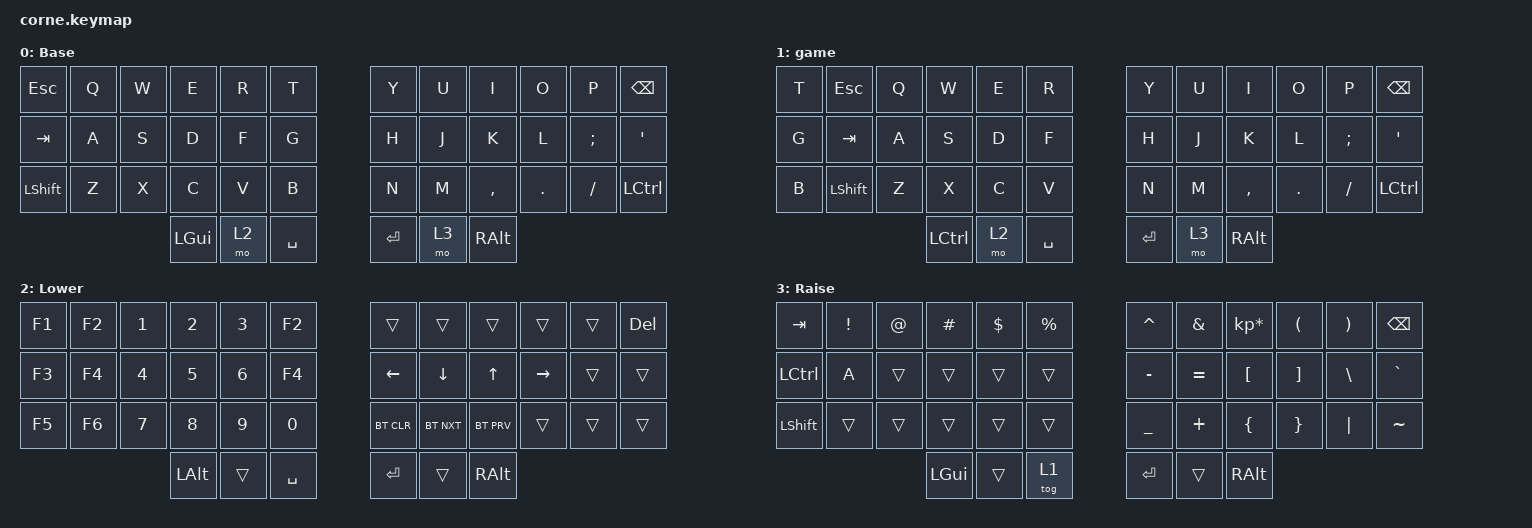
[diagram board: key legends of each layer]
/*
 * Copyright (c) 2020 The ZMK Contributors
 *
 * SPDX-License-Identifier: MIT
 */

#include <behaviors.dtsi>
#include <dt-bindings/zmk/bt.h>
#include <dt-bindings/zmk/keys.h>

/ {
    keymap {
        compatible = "zmk,keymap";

        default_layer {
            // -----------------------------------------------------------------------------------------
            // |  TAB |  Q  |  W  |  E  |  R  |  T  |   |  Y  |  U   |  I  |  O  |  P  | BKSP |
            // | CTRL |  A  |  S  |  D  |  F  |  G  |   |  H  |  J   |  K  |  L  |  ;  |  '   |
            // | SHFT |  Z  |  X  |  C  |  V  |  B  |   |  N  |  M   |  ,  |  .  |  /  | ESC  |
            //                    | GUI | LWR | SPC |   | ENT | RSE  | ALT |

            label = "Base";
            bindings = <
&kp ESCAPE  &kp Q  &kp W  &kp E     &kp R  &kp T        &kp Y    &kp U  &kp I      &kp O    &kp P     &kp BSPC
&kp TAB     &kp A  &kp S  &kp D     &kp F  &kp G        &kp H    &kp J  &kp K      &kp L    &kp SEMI  &kp SQT
&kp LSHFT   &kp Z  &kp X  &kp C     &kp V  &kp B        &kp N    &kp M  &kp COMMA  &kp DOT  &kp FSLH  &kp LCTRL
                          &kp LGUI  &mo 2  &kp SPACE    &kp RET  &mo 3  &kp RALT
            >;
        };

        game {
            label = "game";
            bindings = <
&kp T  &kp ESC    &kp Q  &kp W      &kp E  &kp R        &kp Y    &kp U  &kp I      &kp O    &kp P     &kp BSPC
&kp G  &kp TAB    &kp A  &kp S      &kp D  &kp F        &kp H    &kp J  &kp K      &kp L    &kp SEMI  &kp SQT
&kp B  &kp LSHFT  &kp Z  &kp X      &kp C  &kp V        &kp N    &kp M  &kp COMMA  &kp DOT  &kp FSLH  &kp LCTRL
                         &kp LCTRL  &mo 2  &kp SPACE    &kp RET  &mo 3  &kp RALT
            >;
        };

        lower_layer {
            // -----------------------------------------------------------------------------------------
            // |  TAB |  1  |  2  |  3  |  4  |  5  |   |  6  |  7  |  8  |  9  |  0  | BKSP |
            // | BTCLR| BT1 | BT2 | BT3 | BT4 | BT5 |   | LFT | DWN |  UP | RGT |     |      |
            // | SHFT |     |     |     |     |     |   |     |     |     |     |     |      |
            //                    | GUI |     | SPC |   | ENT |     | ALT |

            label = "Lower";
            bindings = <
&kp F1  &kp F2  &kp NUMBER_1  &kp NUMBER_2  &kp NUMBER_3  &kp F2       &trans      &trans      &trans      &trans     &trans  &kp DELETE
&kp F3  &kp F4  &kp NUMBER_4  &kp N5        &kp NUMBER_6  &kp F4       &kp LEFT    &kp DOWN    &kp UP      &kp RIGHT  &trans  &trans
&kp F5  &kp F6  &kp N7        &kp N8        &kp N9        &kp N0       &bt BT_CLR  &bt BT_NXT  &bt BT_PRV  &trans     &trans  &trans
                              &kp LEFT_ALT  &trans        &kp SPACE    &kp RET     &trans      &kp RALT
            >;
        };

        raise_layer {
            // -----------------------------------------------------------------------------------------
            // |  TAB |  !  |  @  |  #  |  $  |  %  |   |  ^  |  &  |  *  |  (  |  )  | BKSP |
            // | CTRL |     |     |     |     |     |   |  -  |  =  |  [  |  ]  |  \  |  `   |
            // | SHFT |     |     |     |     |     |   |  _  |  +  |  {  |  }  | "|" |  ~   |
            //                    | GUI |     | SPC |   | ENT |     | ALT |

            label = "Raise";
            bindings = <
&kp TAB    &kp EXCL  &kp AT  &kp HASH  &kp DLLR  &kp PRCNT    &kp CARET  &kp AMPS   &kp KP_MULTIPLY  &kp LPAR  &kp RPAR  &kp BSPC
&kp LCTRL  &kp A     &trans  &trans    &trans    &trans       &kp MINUS  &kp EQUAL  &kp LBKT         &kp RBKT  &kp BSLH  &kp GRAVE
&kp LSHFT  &trans    &trans  &trans    &trans    &trans       &kp UNDER  &kp PLUS   &kp LBRC         &kp RBRC  &kp PIPE  &kp TILDE
                             &kp LGUI  &trans    &tog 1       &kp RET    &trans     &kp RALT
            >;
        };
    };
};
